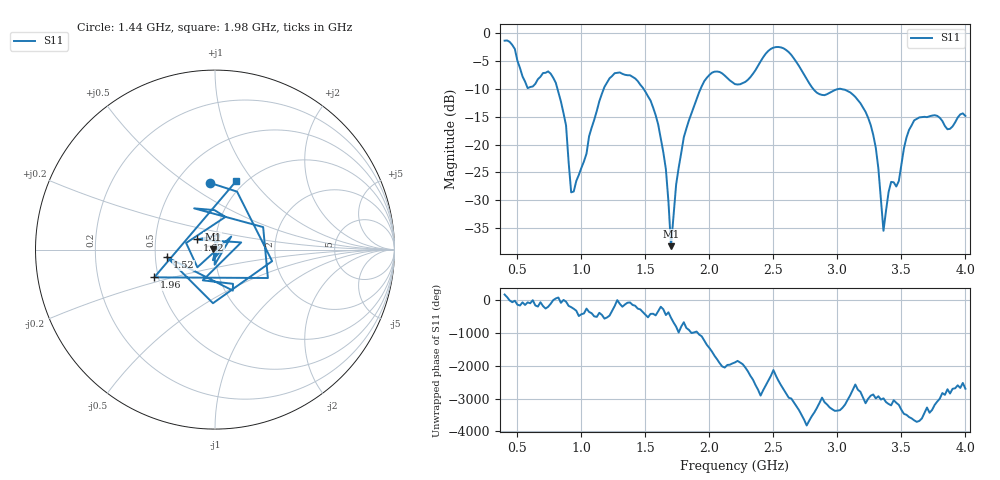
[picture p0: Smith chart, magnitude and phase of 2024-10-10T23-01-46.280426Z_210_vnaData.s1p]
! Created with skrf (http://scikit-rf.org).
# Hz S RI R 50.0
!freq ReS11 ImS11
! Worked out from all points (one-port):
!   181 points, 400 MHz to 4 GHz, reference 50 ohm
!   lowest |S11| = -38.3 dB at 1.7 GHz (marker M1), VSWR 1.02, Z = 48.8 + j0.0827 ohm
!   |S11| at or under -10 dB: 812.9 MHz to 1.174 GHz (361.1 MHz wide, 36.3 % of centre); 1.486 GHz to 1.931 GHz (444.4 MHz wide, 26 % of centre); 3.03 GHz to end of sweep (the widest 3 of 4)
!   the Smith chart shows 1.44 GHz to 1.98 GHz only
!   S11 on the Smith chart (normalised r, x): 1.44 GHz: 0.72, +0.62; 1.52 GHz: 0.57, -0.05; 1.62 GHz: 0.81, +0.09; 1.96 GHz: 0.47, -0.17; 1.98 GHz: 0.91, +0.82
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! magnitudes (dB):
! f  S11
! 400 MHz  -1.3
! 580 MHz  -9.8
! 760 MHz  -7.2
! 860 MHz  -14.3
! 920 MHz  -28.6
! 940 MHz  -28.4
! 1.18 GHz  -9.6
! 1.3 GHz  -7.0
! 1.44 GHz  -8.6
! 1.52 GHz  -11.3
! 1.62 GHz  -18.8
! 1.66 GHz  -24.4
! 1.7 GHz  -38.3
! 1.76 GHz  -24.2
! 1.96 GHz  -8.6
! 1.98 GHz  -8.0
! 2.2 GHz  -9.1
! 2.5 GHz  -2.6
! 2.66 GHz  -4.5
! 2.84 GHz  -10.7
! 3.1 GHz  -10.6
! 3.28 GHz  -18.3
! 3.32 GHz  -24.3
! 3.36 GHz  -35.5
! 3.4 GHz  -28.5
! 3.48 GHz  -26.6
! 3.56 GHz  -17.4
! 4 GHz  -14.8
